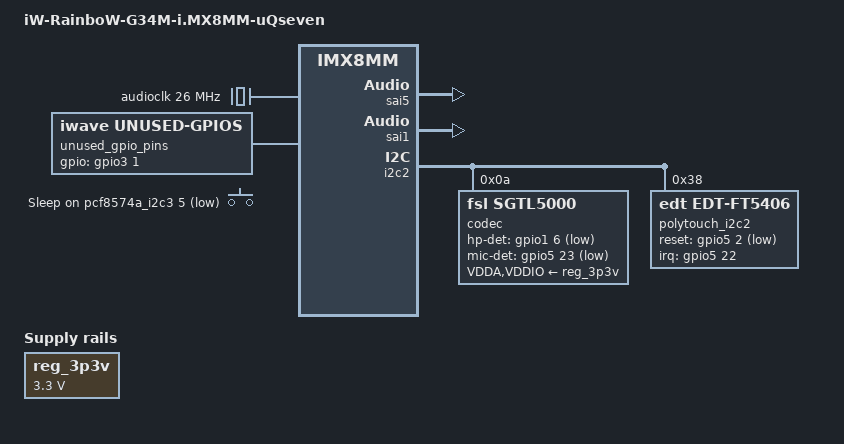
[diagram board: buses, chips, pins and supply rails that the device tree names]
// SPDX-License-Identifier: (GPL-2.0+ OR MIT)
/*
 * Copyright (C) 2022 iWave System Technologies Pvt Ltd.
 *
 * This program is free software; you can redistribute it and/or
 * modify it under the terms of the GNU General Public License
 * as published by the Free Software Foundation; either version 2
 * of the License, or (at your option) any later version.
 *
 * This program is distributed in the hope that it will be useful,
 * but WITHOUT ANY WARRANTY; without even the implied warranty of
 * MERCHANTABILITY or FITNESS FOR A PARTICULAR PURPOSE.  See the
 * GNU General Public License for more details.
 */

/dts-v1/;

#include "imx8mm-iwg34m-q7.dtsi"

/ {
	model = "iW-RainboW-G34M-i.MX8MM-uQseven";
	compatible = "fsl,imx8mm-iwg34m-q7", "fsl,imx8mm";

	audioclk: ext26Mz { /* SAI5: Clock Configuration */
		compatible = "fixed-clock";
		clock-frequency = <26000000>;
		#clock-cells = <0>;
	};

	unused_gpio_pins: unused_pins { /* GPIO: configuring pins as unused GPIOs */
		compatible = "iwave,unused-gpios";
		pinctrl-names = "default";
		pinctrl-0 = <&pinctrl_unused_gpio>;
		status = "okay";              
	};

	reg_3p3v: 3p3v { /* Fixed Regulator: common 3.3V Fixed regulator */
		compatible = "regulator-fixed";
		regulator-name = "3P3V";
		regulator-min-microvolt = <3300000>;
		regulator-max-microvolt = <3300000>;
		regulator-always-on;
	};

	sound { /* SAI5: SGTL5000: Audio Codec support */
		compatible = "simple-audio-card";
                simple-audio-card,name = "sgtl5000-audio";
                simple-audio-card,format = "i2s";
                simple-audio-card,frame-master = <&codecdai>;
                simple-audio-card,bitclock-master = <&codecdai>;
                simple-audio-card,widgets =
                        "Microphone", "Microphone Jack",
                        "Headphone", "Headphone Jack",
                        "Speaker", "Speaker Ext",
                        "Line", "Line In Jack";
                simple-audio-card,routing =
                        "MIC_IN", "Microphone Jack",
                        "Microphone Jack", "Mic Bias",
                        "LINE_IN", "Line In Jack",
                        "Headphone Jack", "HP_OUT",
                        "Speaker Ext", "LINE_OUT";

		simple-audio-card,cpu {
                       sound-dai = <&sai5>;
                };

                codecdai:simple-audio-card,codec {
                       sound-dai = <&codec>;
                       system-clock-frequency = <26000000>;
                };
	};

        sound-hdmi {
                compatible = "fsl,hdmi-audio-lt8912";
                model = "hdmi-audio";
                cpu-dai = <&sai1>;
        };

        pwm_backlight1: pwm-backlight1 { /* PWM: PWM1 backlight Control */
                compatible = "pwm-backlight";
                pinctrl-names = "default";
                pinctrl-0 = <&pinctrl_pwm1>;
                pwms = <&pwm1 0 100000 0>;

                brightness-levels = < 0 1 2 3 4 5 6 7 8 9
                                10 11 12 13 14 15 16 17 18 19
                                20 21 22 23 24 25 26 27 28 29
                                30 31 32 33 34 35 36 37 38 39
                                40 41 42 43 44 45 46 47 48 49
                                50 51 52 53 54 55 56 57 58 59
                                60 61 62 63 64 65 66 67 68 69
                                70 71 72 73 74 75 76 77 78 79
                                80 81 82 83 84 85 86 87 88 89
                                90 91 92 93 94 95 96 97 98 99
                                100>;
               default-brightness-level = <100>;
               status = "disabled";
        };

        pwm_backlight2: pwm-backlight2 { /* PWM: PWM2 backlight Control */
                compatible = "pwm-backlight";
                pinctrl-names = "default";
                pinctrl-0 = <&pinctrl_pwm2>;
                pwms = <&pwm2 0 100000 0>;

                brightness-levels = < 0 1 2 3 4 5 6 7 8 9
                               10 11 12 13 14 15 16 17 18 19
                               20 21 22 23 24 25 26 27 28 29
                               30 31 32 33 34 35 36 37 38 39
                               40 41 42 43 44 45 46 47 48 49
                               50 51 52 53 54 55 56 57 58 59
                               60 61 62 63 64 65 66 67 68 69
                               70 71 72 73 74 75 76 77 78 79
                               80 81 82 83 84 85 86 87 88 89
                               90 91 92 93 94 95 96 97 98 99
                               100>;
                default-brightness-level = <100>;
                status = "disabled";
        };

        gpio-keys {
                compatible = "gpio-keys";

                back {
                        label = "Sleep";
                        gpios = <&pcf8574a_i2c3 5 GPIO_ACTIVE_LOW>;
                        linux,code = <KEY_SLEEP>;
                        wakeup-source;
                };
        };
};

&sai5 { /* SAI5: Serial Audio Interface for Audio Codec */
	#sound-dai-cells = <0>;
	pinctrl-names = "default";
	pinctrl-0 = <&pinctrl_sai5>;
	assigned-clocks = <&clk IMX8MM_CLK_SAI5>;
	assigned-clock-parents = <&clk IMX8MM_AUDIO_PLL1_OUT>;
	assigned-clock-rates = <49152000>;
	clocks = <&clk IMX8MM_CLK_SAI5_IPG>, <&clk IMX8MM_CLK_DUMMY>,
		<&clk IMX8MM_CLK_SAI5_ROOT>, <&clk IMX8MM_CLK_DUMMY>,
		<&clk IMX8MM_CLK_DUMMY>, <&clk IMX8MM_AUDIO_PLL1_OUT>,
		<&clk IMX8MM_AUDIO_PLL2_OUT>;
	clock-names = "bus", "mclk0", "mclk1", "mclk2", "mclk3", "pll8k", "pll11k";
        fsl,sai-multi-lane;
        dmas = <&sdma2 8 25 0>, <&sdma2 9 25 0>;
	status = "okay";
};

&sai1 {
        pinctrl-names = "default", "dsd";
        pinctrl-0 = <&pinctrl_sai1>;
        pinctrl-1 = <&pinctrl_sai1_dsd>;
        assigned-clocks = <&clk IMX8MM_CLK_SAI1>;
        assigned-clock-parents = <&clk IMX8MM_AUDIO_PLL1_OUT>;
        assigned-clock-rates = <49152000>;
        clocks = <&clk IMX8MM_CLK_SAI1_IPG>, <&clk IMX8MM_CLK_DUMMY>,
                <&clk IMX8MM_CLK_SAI1_ROOT>, <&clk IMX8MM_CLK_DUMMY>,
                <&clk IMX8MM_CLK_DUMMY>, <&clk IMX8MM_AUDIO_PLL1_OUT>,
                <&clk IMX8MM_AUDIO_PLL2_OUT>;
        clock-names = "bus", "mclk0", "mclk1", "mclk2", "mclk3", "pll8k", "pll11k";
        fsl,sai-multi-lane;
        fsl,dataline,dsd = <0 0xff 0xff 2 0xff 0x11>;
        dmas = <&sdma2 0 25 0>, <&sdma2 1 25 0>;
        status = "okay";
};

&i2c2 { /* I2C: I2C2 Bus */

	codec: sgtl5000@a { /* Audio: SGTL5000 Audio Codec */
                compatible = "fsl,sgtl5000";
                reg = <0x0a>;
                #sound-dai-cells = <0>;
                pinctrl-names = "default";
                pinctrl-0 = <&pinctrl_hp_mic_detect>;
                clocks = <&audioclk 0>;
                VDDA-supply = <&reg_3p3v>;
                VDDIO-supply = <&reg_3p3v>;
                hp-det-gpios = <&gpio1 6 GPIO_ACTIVE_LOW>;
                mic-det-gpios = <&gpio5 23 GPIO_ACTIVE_LOW>;
                status = "okay";
	};

        polytouch_i2c2: edt-ft5x06@38 {
                compatible = "edt,edt-ft5406", "edt,edt-ft5x06";
                reg = <0x38>;
                pinctrl-names = "default";
                pinctrl-0 = <&pinctrl_touch>;
                interrupt-parent = <&gpio5>;
                interrupts = <22 IRQ_TYPE_EDGE_FALLING>;
                reset-gpios = <&gpio5 2 GPIO_ACTIVE_LOW>;
                status = "okay";
        };

};

&pwm1 {
        status = "disabled";
};

&pwm2 {
        status = "disabled";
};

&iomuxc {

	imx8mm-iwg34m-q7 {

		pinctrl-names = "default";
		pinctrl_sai5: sai5grp { /* SAI5: IOMUX Pin Configuration */
			fsl,pins = <
				MX8MM_IOMUXC_SAI5_RXD2_SAI5_TX_BCLK		0xd6
				MX8MM_IOMUXC_SAI5_RXD1_SAI5_TX_SYNC		0xd6
				MX8MM_IOMUXC_SAI5_RXD3_SAI5_TX_DATA0		0xd6
				MX8MM_IOMUXC_SAI5_RXD0_SAI5_RX_DATA0    	0xd6
			>;
		};

                pinctrl_sai1: sai1grp { /* SAI1: IOMUX Pin Configuration */
                        fsl,pins = <
                                MX8MM_IOMUXC_SAI1_TXC_SAI1_TX_BCLK              0xd6
                                MX8MM_IOMUXC_SAI1_TXD0_SAI1_TX_DATA0            0xd6
                                MX8MM_IOMUXC_SAI1_TXFS_SAI1_TX_SYNC             0xd6

                        >;
                };

                pinctrl_sai1_dsd: sai1grp { /* SAI1: IOMUX Pin Configuration */
                        fsl,pins = <
                                MX8MM_IOMUXC_SAI1_TXC_SAI1_TX_BCLK              0xd6
                                MX8MM_IOMUXC_SAI1_TXD0_SAI1_TX_DATA0            0xd6
                                MX8MM_IOMUXC_SAI1_TXFS_SAI1_TX_SYNC             0xd6

                        >;
                };
	
                pinctrl_hp_mic_detect: hp_mic_detect { /* SGTL5000: IOMUX Pin Configuration */
                        fsl,pins = <
                                MX8MM_IOMUXC_UART1_TXD_GPIO5_IO23               0x41 /* Microphone Detect GPIO */
                                MX8MM_IOMUXC_GPIO1_IO06_GPIO1_IO6               0x41 /* Headphone Detect GPIO */
                       >;
                };

                pinctrl_touch: touchgrp { /* TOUCH: IOMUX Pin Configuration */
                        fsl,pins = <
                                MX8MM_IOMUXC_SAI3_MCLK_GPIO5_IO2               0x41
                                MX8MM_IOMUXC_UART1_RXD_GPIO5_IO22              0x41
                        >;
                };

		pinctrl_unused_gpio: unused_pinsgrp { /* Unused GPIO pins IOMUX Configuration */
			fsl,pins = <
                                MX8MM_IOMUXC_NAND_CE0_B_GPIO3_IO1               0x41
			>;
		};

                pinctrl_pwm1: pwm1grp { /* PWM: PWM1 IOMUX Pin Configuration */
                        fsl,pins = <
                                MX8MM_IOMUXC_I2C4_SDA_PWM1_OUT                  0x400001c3
                        >;
                };

                pinctrl_pwm2: pwm2grp { /* PWM: PWM2 IOMUX Pin Configuration */
                        fsl,pins = <
                                MX8MM_IOMUXC_I2C4_SCL_PWM2_OUT                  0x400001c3
                        >;
                };

	};
};

&unused_gpio_pins {  /* GPIO: iWave Unused GPIO pins */
		 gpios = <&gpio3 1 0>;
};
